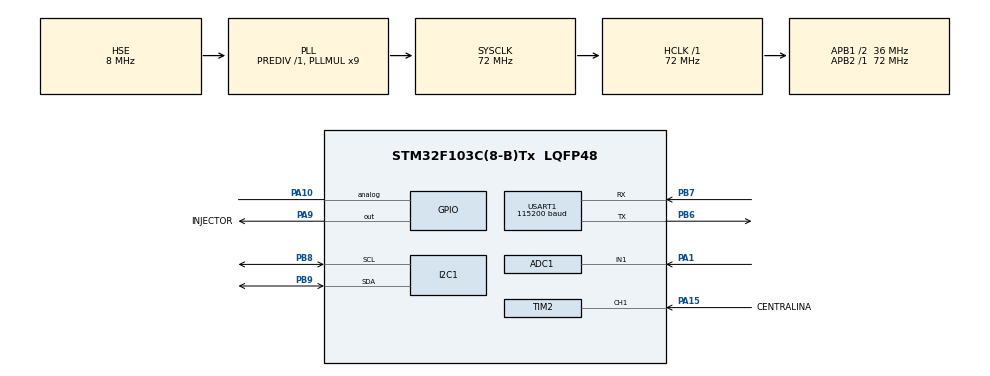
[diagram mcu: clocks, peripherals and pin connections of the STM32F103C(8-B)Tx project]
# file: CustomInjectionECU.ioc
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ADC1.Channel-2\#ChannelRegularConversion=ADC_CHANNEL_1
ADC1.ContinuousConvMode=ENABLE
ADC1.EnableAnalogWatchDog=true
ADC1.EnableInjectedConversion=DISABLE
ADC1.EnableRegularConversion=ENABLE
ADC1.NbrOfConversion=1
ADC1.NbrOfConversionFlag=1
ADC1.Rank-2\#ChannelRegularConversion=1
ADC1.SamplingTime-2\#ChannelRegularConversion=ADC_SAMPLETIME_41CYCLES_5
ADC1.WatchdogChannel=ADC_CHANNEL_1
ADC1.master=1
Dma.ADC1.0.Direction=DMA_PERIPH_TO_MEMORY
Dma.ADC1.0.Instance=DMA1_Channel1
Dma.ADC1.0.MemDataAlignment=DMA_MDATAALIGN_HALFWORD
Dma.ADC1.0.MemInc=DMA_MINC_ENABLE
Dma.ADC1.0.Mode=DMA_CIRCULAR
Dma.ADC1.0.PeriphDataAlignment=DMA_PDATAALIGN_HALFWORD
Dma.ADC1.0.PeriphInc=DMA_PINC_DISABLE
Dma.ADC1.0.Priority=DMA_PRIORITY_LOW
Dma.Request0=ADC1
Mcu.Family=STM32F1
Mcu.Name=STM32F103C(8-B)Tx
Mcu.Package=LQFP48
NVIC.DMA1_Channel1_IRQn=true\:0\:0\:false\:false\:true\:false\:true
NVIC.PriorityGroup=NVIC_PRIORITYGROUP_4
NVIC.TIM2_IRQn=true\:1\:0\:true\:false\:true\:true\:true
NVIC.TIM3_IRQn=true\:2\:0\:true\:false\:true\:true\:true
NVIC.TIM4_IRQn=true\:0\:0\:false\:false\:true\:true\:true
NVIC.USART1_IRQn=true\:0\:0\:false\:false\:true\:true\:true
PA1.Signal=ADCx_IN1
PA10.Signal=GPIO_Analog
PA13.Mode=Serial_Wire
PA13.Signal=SYS_JTMS-SWDIO
PA14.Mode=Serial_Wire
PA14.Signal=SYS_JTCK-SWCLK
PA15.GPIO_Label=CENTRALINA
PA15.Signal=S_TIM2_CH1_ETR
PA9.GPIO_Label=INJECTOR
PA9.GPIO_Speed=GPIO_SPEED_FREQ_HIGH
PA9.Signal=GPIO_Output
PB6.Mode=Asynchronous
PB6.Signal=USART1_TX
PB7.Mode=Asynchronous
PB7.Signal=USART1_RX
PB8.Mode=I2C
PB8.Signal=I2C1_SCL
PB9.Mode=I2C
PB9.Signal=I2C1_SDA
PD0-OSC_IN.Mode=HSE-External-Oscillator
PD0-OSC_IN.Signal=RCC_OSC_IN
PD1-OSC_OUT.Mode=HSE-External-Oscillator
PD1-OSC_OUT.Signal=RCC_OSC_OUT
ProjectManager.HeapSize=0x200
ProjectManager.StackSize=0x400
ProjectManager.TargetToolchain=Makefile
RCC.ADCPresc=RCC_ADCPCLK2_DIV6
RCC.AHBFreq_Value=72000000
RCC.APB1CLKDivider=RCC_HCLK_DIV2
RCC.APB1Freq_Value=36000000
RCC.APB1TimFreq_Value=72000000
RCC.APB2Freq_Value=72000000
RCC.APB2TimFreq_Value=72000000
RCC.HCLKFreq_Value=72000000
RCC.PLLMUL=RCC_PLL_MUL9
RCC.PLLSourceVirtual=RCC_PLLSOURCE_HSE
RCC.SYSCLKFreq_VALUE=72000000
RCC.SYSCLKSource=RCC_SYSCLKSOURCE_PLLCLK
RCC.USBFreq_Value=48000000
RCC.USBPrescaler=RCC_USBCLKSOURCE_PLL_DIV1_5
SH.ADCx_IN1.0=ADC1_IN1,IN1
SH.S_TIM2_CH1_ETR.0=TIM2_CH1,PWM_Input_1
TIM2.Period=0xffff-1
TIM2.Prescaler=7200-1
TIM3.Period=0
TIM3.Prescaler=7200-1
TIM4.Period=1000-1
TIM4.Prescaler=7200-1
USART1.BaudRate=115200
USART1.VirtualMode=VM_ASYNC
VP_TIM3_VS_ClockSourceINT.Mode=Internal
VP_TIM4_VS_ClockSourceINT.Mode=Internal
board=custom

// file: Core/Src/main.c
/* USER CODE BEGIN Header */
/**
 ******************************************************************************
 * @file           : main.c
 * @brief          : Main program body
 ******************************************************************************
 * @attention
 *
 * <h2><center>&copy; Copyright (c) 2020 STMicroelectronics.
 * All rights reserved.</center></h2>
 *
 * This software component is licensed by ST under Ultimate Liberty license
 * SLA0044, the "License"; You may not use this file except in compliance with
 * the License. You may obtain a copy of the License at:
 *                             www.st.com/SLA0044
 *
 ******************************************************************************
 */
/* USER CODE END Header */
#include "main.h"

/* USER CODE BEGIN Includes */
#include <string.h>
#include <stdio.h>
#include <stdlib.h>
/* USER CODE END Includes */

/* USER CODE BEGIN PD */
#define ROWS 43
#define COLS 10
#define CORRFACTOR 0.00375
#define MINSAMPLE 0
#define EEPROM_DEV_ADDR (0x50 << 1)
/* USER CODE END PD */

ADC_HandleTypeDef hadc1;
DMA_HandleTypeDef hdma_adc1;

I2C_HandleTypeDef hi2c1;

TIM_HandleTypeDef htim2;
TIM_HandleTypeDef htim3;
TIM_HandleTypeDef htim4;

UART_HandleTypeDef huart1;

void SystemClock_Config(void);
static void MX_GPIO_Init(void);
static void MX_DMA_Init(void);
static void MX_ADC1_Init(void);
static void MX_TIM2_Init(void);
static void MX_I2C1_Init(void);
static void MX_TIM3_Init(void);
static void MX_TIM4_Init(void);
static void MX_USART1_UART_Init(void);
/* USER CODE BEGIN PFP */
HAL_StatusTypeDef EEPROM_Save(uint16_t Address, void *data,
                              size_t size_of_data);
HAL_StatusTypeDef EEPROM_Load(uint16_t Address, void *data,
                              size_t size_of_data);
/* USER CODE END PFP */

/* USER CODE BEGIN 0 */
typedef struct {
    uint8_t override;
    uint8_t stop;
    uint16_t period;
    uint16_t pulse;
    uint16_t rpm;
    uint16_t rpm_index;
    uint16_t throttle_index;
    uint16_t edit;
} engine_state;

engine_state engine;
uint8_t counter;
uint8_t telemetry;
uint8_t save_status;
uint8_t *uartBuffer_1;
uint16_t adcResult[4];
uint16_t (*eepromBuffer)[ROWS][COLS];
uint16_t (*injectorMap)[ROWS][COLS];

/* USER CODE END 0 */

int main(void) {

  /* MCU Configuration--------------------------------------------------------*/

  /* Reset of all peripherals, Initializes the Flash interface and the Systick. */
  HAL_Init();

  /* Configure the system clock */
  SystemClock_Config();

  /* Initialize all configured peripherals */
  MX_GPIO_Init();
  MX_DMA_Init();
  MX_ADC1_Init();
  MX_TIM2_Init();
  MX_I2C1_Init();
  MX_TIM3_Init();
  MX_TIM4_Init();
  MX_USART1_UART_Init();
  /* USER CODE BEGIN 2 */
    HAL_TIM_IC_Start_IT(&htim2, TIM_CHANNEL_1);
    HAL_TIM_IC_Start_IT(&htim2, TIM_CHANNEL_2);
    HAL_TIM_Base_Start_IT(&htim4);
    HAL_ADC_Start_DMA(&hadc1, (uint32_t *)adcResult, 2);
    injectorMap = malloc(sizeof(*injectorMap));
    eepromBuffer = malloc(sizeof(*eepromBuffer));
    for (int i = 0; i < ROWS; i++) {
        for (int j = 0; j < COLS; j++) {
            (*injectorMap)[i][j] = 0;
            (*eepromBuffer)[i][j] = 0;
        }
    }
    uartBuffer_1 = malloc(sizeof(char) * 1024);
    save_status = 0;
    telemetry = 0;
    counter = 0;
    EEPROM_Load(0x0, eepromBuffer, (ROWS * COLS) * sizeof(uint16_t));
    HAL_UART_Receive_IT(&huart1, uartBuffer_1, 1);

  /* USER CODE END 2 */

  /* Infinite loop */
    while (1) {

    }
}

void SystemClock_Config(void)
{
  RCC_OscInitTypeDef RCC_OscInitStruct = {0};
  RCC_ClkInitTypeDef RCC_ClkInitStruct = {0};
  RCC_PeriphCLKInitTypeDef PeriphClkInit = {0};

  /** Initializes the RCC Oscillators according to the specified parameters
  * in the RCC_OscInitTypeDef structure.
  */
  RCC_OscInitStruct.OscillatorType = RCC_OSCILLATORTYPE_HSE;
  RCC_OscInitStruct.HSEState = RCC_HSE_ON;
  RCC_OscInitStruct.HSEPredivValue = RCC_HSE_PREDIV_DIV1;
  RCC_OscInitStruct.HSIState = RCC_HSI_ON;
  RCC_OscInitStruct.PLL.PLLState = RCC_PLL_ON;
  RCC_OscInitStruct.PLL.PLLSource = RCC_PLLSOURCE_HSE;
  RCC_OscInitStruct.PLL.PLLMUL = RCC_PLL_MUL9;
  if (HAL_RCC_OscConfig(&RCC_OscInitStruct) != HAL_OK)
  {
    Error_Handler();
  }
  /** Initializes the CPU, AHB and APB buses clocks
  */
  RCC_ClkInitStruct.ClockType = RCC_CLOCKTYPE_HCLK|RCC_CLOCKTYPE_SYSCLK
                              |RCC_CLOCKTYPE_PCLK1|RCC_CLOCKTYPE_PCLK2;
  RCC_ClkInitStruct.SYSCLKSource = RCC_SYSCLKSOURCE_PLLCLK;
  RCC_ClkInitStruct.AHBCLKDivider = RCC_SYSCLK_DIV1;
  RCC_ClkInitStruct.APB1CLKDivider = RCC_HCLK_DIV2;
  RCC_ClkInitStruct.APB2CLKDivider = RCC_HCLK_DIV1;

  if (HAL_RCC_ClockConfig(&RCC_ClkInitStruct, FLASH_LATENCY_2) != HAL_OK)
  {
    Error_Handler();
  }
  PeriphClkInit.PeriphClockSelection = RCC_PERIPHCLK_ADC;
  PeriphClkInit.AdcClockSelection = RCC_ADCPCLK2_DIV6;
  if (HAL_RCCEx_PeriphCLKConfig(&PeriphClkInit) != HAL_OK)
  {
    Error_Handler();
  }
}

static void MX_ADC1_Init(void)
{

  ADC_AnalogWDGConfTypeDef AnalogWDGConfig = {0};
  ADC_ChannelConfTypeDef sConfig = {0};

  /** Common config
  */
  hadc1.Instance = ADC1;
  hadc1.Init.ScanConvMode = ADC_SCAN_DISABLE;
  hadc1.Init.ContinuousConvMode = ENABLE;
  hadc1.Init.DiscontinuousConvMode = DISABLE;
  hadc1.Init.ExternalTrigConv = ADC_SOFTWARE_START;
  hadc1.Init.DataAlign = ADC_DATAALIGN_RIGHT;
  hadc1.Init.NbrOfConversion = 1;
  if (HAL_ADC_Init(&hadc1) != HAL_OK)
  {
    Error_Handler();
  }
  /** Configure Analog WatchDog 1
  */
  AnalogWDGConfig.WatchdogMode = ADC_ANALOGWATCHDOG_SINGLE_REG;
  AnalogWDGConfig.HighThreshold = 0;
  AnalogWDGConfig.LowThreshold = 0;
  AnalogWDGConfig.Channel = ADC_CHANNEL_1;
  AnalogWDGConfig.ITMode = DISABLE;
  if (HAL_ADC_AnalogWDGConfig(&hadc1, &AnalogWDGConfig) != HAL_OK)
  {
    Error_Handler();
  }
  /** Configure Regular Channel
  */
  sConfig.Channel = ADC_CHANNEL_1;
  sConfig.Rank = ADC_REGULAR_RANK_1;
  sConfig.SamplingTime = ADC_SAMPLETIME_41CYCLES_5;
  if (HAL_ADC_ConfigChannel(&hadc1, &sConfig) != HAL_OK)
  {
    Error_Handler();
  }

}

static void MX_I2C1_Init(void)
{

  hi2c1.Instance = I2C1;
  hi2c1.Init.ClockSpeed = 100000;
  hi2c1.Init.DutyCycle = I2C_DUTYCYCLE_2;
  hi2c1.Init.OwnAddress1 = 0;
  hi2c1.Init.AddressingMode = I2C_ADDRESSINGMODE_7BIT;
  hi2c1.Init.DualAddressMode = I2C_DUALADDRESS_DISABLE;
  hi2c1.Init.OwnAddress2 = 0;
  hi2c1.Init.GeneralCallMode = I2C_GENERALCALL_DISABLE;
  hi2c1.Init.NoStretchMode = I2C_NOSTRETCH_DISABLE;
  if (HAL_I2C_Init(&hi2c1) != HAL_OK)
  {
    Error_Handler();
  }

}

static void MX_TIM2_Init(void)
{

  TIM_SlaveConfigTypeDef sSlaveConfig = {0};
  TIM_IC_InitTypeDef sConfigIC = {0};
  TIM_MasterConfigTypeDef sMasterConfig = {0};

  htim2.Instance = TIM2;
  htim2.Init.Prescaler = 7200-1;
  htim2.Init.CounterMode = TIM_COUNTERMODE_UP;
  htim2.Init.Period = 0xffff-1;
  htim2.Init.ClockDivision = TIM_CLOCKDIVISION_DIV1;
  htim2.Init.AutoReloadPreload = TIM_AUTORELOAD_PRELOAD_DISABLE;
  if (HAL_TIM_IC_Init(&htim2) != HAL_OK)
  {
    Error_Handler();
  }
  sSlaveConfig.SlaveMode = TIM_SLAVEMODE_RESET;
  sSlaveConfig.InputTrigger = TIM_TS_TI1FP1;
  sSlaveConfig.TriggerPolarity = TIM_INPUTCHANNELPOLARITY_RISING;
  sSlaveConfig.TriggerPrescaler = TIM_ICPSC_DIV1;
  sSlaveConfig.TriggerFilter = 0;
  if (HAL_TIM_SlaveConfigSynchro(&htim2, &sSlaveConfig) != HAL_OK)
  {
    Error_Handler();
  }
  sConfigIC.ICPolarity = TIM_INPUTCHANNELPOLARITY_RISING;
  sConfigIC.ICSelection = TIM_ICSELECTION_DIRECTTI;
  sConfigIC.ICPrescaler = TIM_ICPSC_DIV1;
  sConfigIC.ICFilter = 0;
  if (HAL_TIM_IC_ConfigChannel(&htim2, &sConfigIC, TIM_CHANNEL_1) != HAL_OK)
  {
    Error_Handler();
  }
  sConfigIC.ICPolarity = TIM_INPUTCHANNELPOLARITY_FALLING;
  sConfigIC.ICSelection = TIM_ICSELECTION_INDIRECTTI;
  if (HAL_TIM_IC_ConfigChannel(&htim2, &sConfigIC, TIM_CHANNEL_2) != HAL_OK)
  {
    Error_Handler();
  }
  sMasterConfig.MasterOutputTrigger = TIM_TRGO_RESET;
  sMasterConfig.MasterSlaveMode = TIM_MASTERSLAVEMODE_DISABLE;
  if (HAL_TIMEx_MasterConfigSynchronization(&htim2, &sMasterConfig) != HAL_OK)
  {
    Error_Handler();
  }

}

static void MX_TIM3_Init(void)
{

  TIM_ClockConfigTypeDef sClockSourceConfig = {0};
  TIM_MasterConfigTypeDef sMasterConfig = {0};

  htim3.Instance = TIM3;
  htim3.Init.Prescaler = 7200-1;
  htim3.Init.CounterMode = TIM_COUNTERMODE_UP;
  htim3.Init.Period = 0;
  htim3.Init.ClockDivision = TIM_CLOCKDIVISION_DIV1;
  htim3.Init.AutoReloadPreload = TIM_AUTORELOAD_PRELOAD_DISABLE;
  if (HAL_TIM_Base_Init(&htim3) != HAL_OK)
  {
    Error_Handler();
  }
  sClockSourceConfig.ClockSource = TIM_CLOCKSOURCE_INTERNAL;
  if (HAL_TIM_ConfigClockSource(&htim3, &sClockSourceConfig) != HAL_OK)
  {
    Error_Handler();
  }
  sMasterConfig.MasterOutputTrigger = TIM_TRGO_RESET;
  sMasterConfig.MasterSlaveMode = TIM_MASTERSLAVEMODE_DISABLE;
  if (HAL_TIMEx_MasterConfigSynchronization(&htim3, &sMasterConfig) != HAL_OK)
  {
    Error_Handler();
  }

}

static void MX_TIM4_Init(void)
{

  TIM_ClockConfigTypeDef sClockSourceConfig = {0};
  TIM_MasterConfigTypeDef sMasterConfig = {0};

  htim4.Instance = TIM4;
  htim4.Init.Prescaler = 7200-1;
  htim4.Init.CounterMode = TIM_COUNTERMODE_UP;
  htim4.Init.Period = 1000-1;
  htim4.Init.ClockDivision = TIM_CLOCKDIVISION_DIV1;
  htim4.Init.AutoReloadPreload = TIM_AUTORELOAD_PRELOAD_DISABLE;
  if (HAL_TIM_Base_Init(&htim4) != HAL_OK)
  {
    Error_Handler();
  }
  sClockSourceConfig.ClockSource = TIM_CLOCKSOURCE_INTERNAL;
  if (HAL_TIM_ConfigClockSource(&htim4, &sClockSourceConfig) != HAL_OK)
  {
    Error_Handler();
  }
  sMasterConfig.MasterOutputTrigger = TIM_TRGO_RESET;
  sMasterConfig.MasterSlaveMode = TIM_MASTERSLAVEMODE_DISABLE;
  if (HAL_TIMEx_MasterConfigSynchronization(&htim4, &sMasterConfig) != HAL_OK)
  {
    Error_Handler();
  }

}

static void MX_USART1_UART_Init(void)
{

  huart1.Instance = USART1;
  huart1.Init.BaudRate = 115200;
  huart1.Init.WordLength = UART_WORDLENGTH_8B;
  huart1.Init.StopBits = UART_STOPBITS_1;
  huart1.Init.Parity = UART_PARITY_NONE;
  huart1.Init.Mode = UART_MODE_TX_RX;
  huart1.Init.HwFlowCtl = UART_HWCONTROL_NONE;
  huart1.Init.OverSampling = UART_OVERSAMPLING_16;
  if (HAL_UART_Init(&huart1) != HAL_OK)
  {
    Error_Handler();
  }

}

static void MX_DMA_Init(void)
{

  /* DMA controller clock enable */
  __HAL_RCC_DMA1_CLK_ENABLE();

  /* DMA interrupt init */
  /* DMA1_Channel1_IRQn interrupt configuration */
  HAL_NVIC_SetPriority(DMA1_Channel1_IRQn, 0, 0);
  HAL_NVIC_EnableIRQ(DMA1_Channel1_IRQn);

}

static void MX_GPIO_Init(void)
{
  GPIO_InitTypeDef GPIO_InitStruct = {0};

  /* GPIO Ports Clock Enable */
  __HAL_RCC_GPIOD_CLK_ENABLE();
  __HAL_RCC_GPIOA_CLK_ENABLE();
  __HAL_RCC_GPIOB_CLK_ENABLE();

  /*Configure GPIO pin Output Level */
  HAL_GPIO_WritePin(INJECTOR_GPIO_Port, INJECTOR_Pin, GPIO_PIN_RESET);

  /*Configure GPIO pin : INJECTOR_Pin */
  GPIO_InitStruct.Pin = INJECTOR_Pin;
  GPIO_InitStruct.Mode = GPIO_MODE_OUTPUT_PP;
  GPIO_InitStruct.Pull = GPIO_NOPULL;
  GPIO_InitStruct.Speed = GPIO_SPEED_FREQ_HIGH;
  HAL_GPIO_Init(INJECTOR_GPIO_Port, &GPIO_InitStruct);

  /*Configure GPIO pin : PA10 */
  GPIO_InitStruct.Pin = GPIO_PIN_10;
  GPIO_InitStruct.Mode = GPIO_MODE_ANALOG;
  HAL_GPIO_Init(GPIOA, &GPIO_InitStruct);

}

/* USER CODE BEGIN 4 */

void HAL_TIM_IC_CaptureCallback(TIM_HandleTypeDef *htim) {
    if (htim->Channel == HAL_TIM_ACTIVE_CHANNEL_1) {  // Rising Edge
        HAL_GPIO_WritePin(INJECTOR_GPIO_Port, INJECTOR_Pin, 1);  // Turn on injector
        engine.period = HAL_TIM_ReadCapturedValue(htim, TIM_CHANNEL_1);

    } else if (htim->Channel == HAL_TIM_ACTIVE_CHANNEL_2) {  // Falling Edge
        if(engine.edit == 0) {
            HAL_GPIO_WritePin(INJECTOR_GPIO_Port, INJECTOR_Pin, 0);  // Turn off injector

        } else {
            htim3.Instance->ARR = engine.edit;
            HAL_TIM_Base_Start_IT(&htim3);
            engine.override = 1;
        }
        engine.pulse = HAL_TIM_ReadCapturedValue(htim, TIM_CHANNEL_2);
    }
}
char info[256];
void HAL_TIM_PeriodElapsedCallback(TIM_HandleTypeDef *htim) {
    if(htim->Instance == TIM3) {
        HAL_GPIO_WritePin(INJECTOR_GPIO_Port, INJECTOR_Pin, 0);
        engine.override = 0;
        HAL_TIM_Base_Stop_IT(htim);
    }
    /**
   *  Timer loop, every 5ms this code will be executed
   */
    if (htim->Instance == TIM4) {  // 5ms LOOP
        engine.rpm = (10000 / engine.period) * 2 * 60;
        engine.rpm_index = engine.rpm / 250;
        if(engine.rpm_index >= 43) {
            engine.rpm_index = 42;
        }
        engine.throttle_index = ((uint16_t)(adcResult[0]) - MINSAMPLE) * CORRFACTOR;
        if(engine.throttle_index >= 10) {
            engine.throttle_index = 9;
        }
        (*injectorMap)[engine.rpm_index][engine.throttle_index] = engine.pulse;
        engine.edit = (*eepromBuffer)[engine.rpm_index][engine.throttle_index];

        if (save_status) {
            for (int i = 0; i <= (ROWS * COLS * sizeof(uint16_t)) / 16; i++) {
                while (HAL_I2C_IsDeviceReady(&hi2c1, EEPROM_DEV_ADDR, 1, HAL_MAX_DELAY) != HAL_OK);
                EEPROM_Save(i * 16, (uint8_t *)eepromBuffer + i * 16, 16);
            }
            save_status = 0;
        }
        if(counter++ >= 20) { //100 ms loop
          counter = 0;
          if(telemetry) {
            snprintf(info, 30, "%u-%u-%u-%u-%u", engine.rpm, adcResult[0], engine.rpm_index, engine.throttle_index, engine.edit);
            HAL_UART_Transmit_IT(&huart1, (uint8_t *)info, 5*2 + 4);
          }
        }
    }
}

char command = 0;
uint16_t offset = 0;
uint16_t length = 0;
uint16_t received = 0;

/**
 * Function USART CALLBACK
 * --------------------------------------------------------------------------------
 * Parse USART Commands and Data
 * --------------------------------------------------------------------------------
 * huart: UART Handle
 *
 */
void HAL_UART_RxCpltCallback(UART_HandleTypeDef *huart) {
    /**
    * Write Command 'w'
    * Args:
    *        Pos  | Bits
    * Offset 0x01 | 16
    * Length 0x03 | 16
    * Data   0x04 | ...
    */
  if (command == 0) {
      switch (*uartBuffer_1) {
          case 'w': { // Write to the EEPROM
              command = *uartBuffer_1++;
              HAL_UART_Receive_IT(&huart1, uartBuffer_1, 4);
              // offset = *((uint16_t *)uartBuffer_1);
              // uartBuffer_1 += 2;
              // length = *((uint16_t *)uartBuffer_1);
              // uartBuffer_1 += 2;
              // skipped = 5;
          } break;
          case 'r': { // Send eepromBuffer via USART1
            HAL_UART_Transmit_IT(&huart1, (uint8_t *)eepromBuffer, ROWS * COLS * 2);
          } break;
          case 'm': { // Send injectorMAP via Serial USB
              HAL_UART_Transmit_IT(&huart1, (uint8_t *)injectorMap, ROWS * COLS * 2);
          }  break;
          case 'i': { // Send realtime info, RPM, ADCRESULT, RPM_INDEX, THROTTLE_INDEX
              telemetry = !telemetry;
          } break;
          case 's': {
              memcpy((uint8_t *)eepromBuffer, injectorMap, ROWS * COLS * 2);
              save_status = 1;
          } break;
          default:
              break;
      }
  }
  if (command == 'w') {
      length = *(uartBuffer_1);
      offset = *(uartBuffer_1 + 2);
      memcpy(((uint8_t *)eepromBuffer) + offset, uartBuffer_1, length);
      // offset += currentLen;
      // received += currentLen;
      // if (received >= length) {
      command = 0;
      offset = 0;
      length = 0;
      received = 0;
      save_status = 1;
      // }
  }
  HAL_UART_Receive_IT(&huart1, uartBuffer_1, 1);
}

/**
 * Function EEPROM_Save
 * --------------------------------------------------------------------------------
 * Save data inside the EEPROM at given address
 * --------------------------------------------------------------------------------
 * address: memory address to indicate where to save the data
 * data: data to save inside the EEPROM
 * size_of_data: n* of byte to save to the EEPROM
 *
 * Returns: HAL_StatusTypeDef
 *
 * ! YOU CAN ONLY WRITE 16 BYTES EVERY CALL
 */
HAL_StatusTypeDef EEPROM_Save(uint16_t address, void *data, size_t size_of_data) {
    return HAL_I2C_Mem_Write(&hi2c1, EEPROM_DEV_ADDR | ((address >> 7)),
                             (address & 0xff), I2C_MEMADD_SIZE_8BIT,
                             (uint8_t *)data, size_of_data, 100);
}

/**
 * Function EEPROM_Load
 * --------------------------------------------------------------------------------
 * Load data from the EEPROM at given address
 * --------------------------------------------------------------------------------
 * address: memory address to indicate where to retrive the data
 * data: data pointer that will contain data from the EEPROM
 * size_of_data: n* of byte to read from the EEPROM
 *
 * Returns HAL_StatusTypeDef
 */
HAL_StatusTypeDef EEPROM_Load(uint16_t address, void *data, size_t size_of_data) {
    return HAL_I2C_Mem_Read(&hi2c1, EEPROM_DEV_ADDR | ((address >> 7)),
                            (address & 0xff), I2C_MEMADD_SIZE_8BIT,
                            (uint8_t *)data, size_of_data, 100);
}

/* USER CODE END 4 */

void Error_Handler(void)
{
}

#ifdef  USE_FULL_ASSERT
/**
  * @brief  Reports the name of the source file and the source line number
  *         where the assert_param error has occurred.
  * @param  file: pointer to the source file name
  * @param  line: assert_param error line source number
  * @retval None
  */
void assert_failed(uint8_t *file, uint32_t line)
{
  /* USER CODE BEGIN 6 */
    /* User can add his own implementation to report the file name and line
     number,
     tex: printf("Wrong parameters value: file %s on line %d\r\n", file, line)
   */
  /* USER CODE END 6 */
}
#endif /* USE_FULL_ASSERT */

/************************ (C) COPYRIGHT STMicroelectronics *****END OF FILE****/
